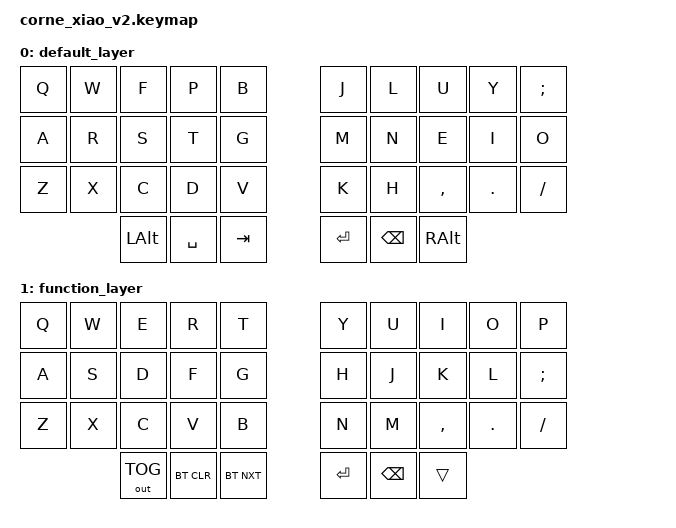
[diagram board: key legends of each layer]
#include <behaviors.dtsi>
#include <dt-bindings/zmk/keys.h>
#include <dt-bindings/zmk/bt.h>
#include <dt-bindings/zmk/outputs.h>

#define DEF 0
#define FUN 1

/ {
    keymap {
        compatible = "zmk,keymap";

        default_layer {
            bindings = <
          &kp Q &kp W &kp F &kp P &kp B                      &kp J   &kp L &kp U     &kp Y   &kp SEMI
          &kp A &kp R &kp S &kp T &kp G                      &kp M   &kp N &kp E     &kp I   &kp O
          &kp Z &kp X &kp C &kp D &kp V                      &kp K   &kp H &kp COMMA &kp DOT &kp SLASH

                &kp LALT &kp SPACE &kp TAB                &kp RET &kp BSPC &kp RALT
            >;
        };

        function_layer {
            bindings = <
          &kp Q &kp W &kp E &kp R &kp T                      &kp Y   &kp U &kp I     &kp O   &kp P
          &kp A &kp S &kp D &kp F &kp G                      &kp H   &kp J &kp K     &kp L   &kp SEMI
          &kp Z &kp X &kp C &kp V &kp B                      &kp N   &kp M &kp COMMA &kp DOT &kp SLASH

                  &out OUT_TOG &bt BT_CLR &bt BT_NXT          &kp RET &kp BSPC &trans
            >;
        };
    };
};

